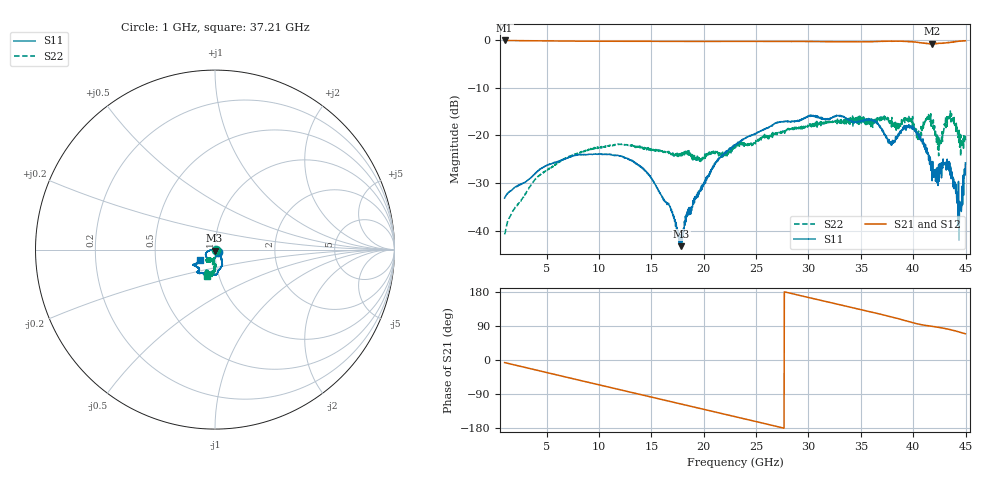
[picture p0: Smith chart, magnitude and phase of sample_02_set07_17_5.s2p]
!Keysight Technologies,N5247B,MY61255062,A.19.80.06
!Date: Friday, March 13, 2026 17:50:53
!Correction: S11(C  2-Port  )
!S21(C  2-Port  )
!S12(C  2-Port  )
!S22(C  2-Port  )
!S2P File: Measurements: S11, S21, S12, S22:
# Hz S  dB  R 50
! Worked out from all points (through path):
!   1467 points, 1 GHz to 44.98 GHz, reference 50 ohm
!   highest |S21| = -0.08 dB at 1 GHz (marker M1); lowest = -0.8 dB at 41.83 GHz (marker M2)
!   group delay of S21, straight-line fit = 18 ps
!   lowest |S11| = -43.2 dB at 17.86 GHz (marker M3), VSWR 1.01, Z = 49.8 - j0.652 ohm
!   |S11| at or under -10 dB: start of sweep to end of sweep
!   |S22| runs from -40.8 to -14.9 dB; largest |S21 - S12| = 0.0094
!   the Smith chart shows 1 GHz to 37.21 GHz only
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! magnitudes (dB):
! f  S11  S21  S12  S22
! 1 GHz  -33.1  -0.1  -0.1  -40.8
! 4.03 GHz  -27.8  -0.2  -0.2  -29.0
! 8.35 GHz  -24.1  -0.2  -0.2  -23.6
! 12.94 GHz  -25.2  -0.3  -0.3  -22.1
! 15.67 GHz  -31.5  -0.3  -0.3  -23.1
! 16.81 GHz  -35.0  -0.3  -0.3  -23.8
! 17.86 GHz  -43.2  -0.3  -0.3  -23.5
! 18.46 GHz  -36.1  -0.3  -0.3  -23.7
! 20.98 GHz  -26.6  -0.3  -0.3  -23.7
! 22.99 GHz  -22.0  -0.3  -0.3  -21.9
! 30.34 GHz  -15.9  -0.3  -0.3  -17.6
! 36.04 GHz  -16.8  -0.3  -0.3  -18.0
! 37.66 GHz  -21.3  -0.2  -0.2  -17.2
! 39.91 GHz  -18.7  -0.4  -0.4  -18.2
! 40.45 GHz  -19.9  -0.5  -0.5  -20.8
! 41.38 GHz  -23.6  -0.7  -0.7  -16.1
! 41.83 GHz  -27.1  -0.8  -0.8  -17.3
! 42.52 GHz  -25.9  -0.7  -0.7  -21.5
! 43.39 GHz  -25.9  -0.5  -0.5  -16.4
! 43.84 GHz  -29.2  -0.3  -0.4  -16.2
! 44.44 GHz  -33.8  -0.2  -0.2  -22.5
! 44.98 GHz  -25.8  -0.2  -0.2  -21.0
